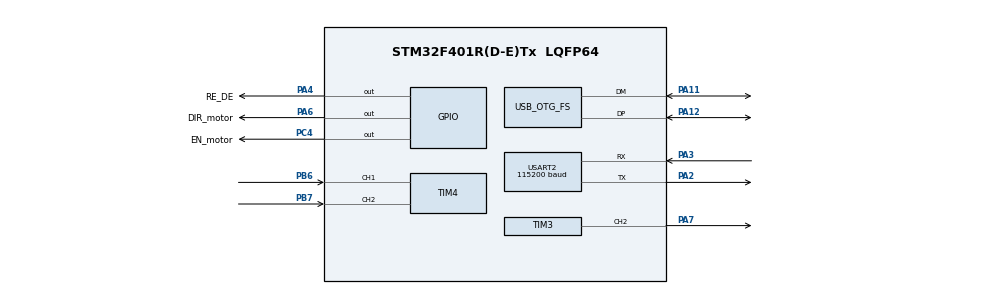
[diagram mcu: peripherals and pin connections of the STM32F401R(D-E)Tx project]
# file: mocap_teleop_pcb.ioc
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Mcu.Family=STM32F4
Mcu.Name=STM32F401R(D-E)Tx
Mcu.Package=LQFP64
NVIC.OTG_FS_IRQn=true\:0\:0\:false\:false\:true\:false\:true\:true
NVIC.PriorityGroup=NVIC_PRIORITYGROUP_4
NVIC.TIM3_IRQn=true\:0\:0\:false\:false\:true\:true\:true\:true
NVIC.TIM4_IRQn=true\:0\:0\:false\:false\:true\:true\:true\:true
NVIC.USART2_IRQn=true\:0\:0\:false\:false\:true\:true\:true\:true
PA11.Mode=Device_Only
PA11.Signal=USB_OTG_FS_DM
PA12.Mode=Device_Only
PA12.Signal=USB_OTG_FS_DP
PA13.Mode=Serial_Wire
PA13.Signal=SYS_JTMS-SWDIO
PA14.Mode=Serial_Wire
PA14.Signal=SYS_JTCK-SWCLK
PA2.Mode=Asynchronous
PA2.Signal=USART2_TX
PA3.Mode=Asynchronous
PA3.Signal=USART2_RX
PA4.GPIO_Label=RE_DE
PA4.GPIO_PuPd=GPIO_PULLDOWN
PA4.GPIO_Speed=GPIO_SPEED_FREQ_VERY_HIGH
PA4.Signal=GPIO_Output
PA6.GPIO_Label=DIR_motor
PA6.GPIO_PuPd=GPIO_PULLDOWN
PA6.GPIO_Speed=GPIO_SPEED_FREQ_VERY_HIGH
PA6.Signal=GPIO_Output
PA7.Signal=S_TIM3_CH2
PB6.Signal=S_TIM4_CH1
PB7.Signal=S_TIM4_CH2
PC4.GPIO_Label=EN_motor
PC4.GPIO_PuPd=GPIO_PULLDOWN
PC4.GPIO_Speed=GPIO_SPEED_FREQ_VERY_HIGH
PC4.Signal=GPIO_Output
PH0\ -\ OSC_IN.Mode=HSE-External-Oscillator
PH0\ -\ OSC_IN.Signal=RCC_OSC_IN
PH1\ -\ OSC_OUT.Mode=HSE-External-Oscillator
PH1\ -\ OSC_OUT.Signal=RCC_OSC_OUT
ProjectManager.HeapSize=0x200
ProjectManager.StackSize=0x400
ProjectManager.TargetToolchain=STM32CubeIDE
RCC.48MHZClocksFreq_Value=48000000
RCC.AHBFreq_Value=84000000
RCC.APB1CLKDivider=RCC_HCLK_DIV2
RCC.APB1Freq_Value=42000000
RCC.APB1TimFreq_Value=84000000
RCC.APB2Freq_Value=84000000
RCC.APB2TimFreq_Value=84000000
RCC.CortexFreq_Value=84000000
RCC.HCLKFreq_Value=84000000
RCC.HSE_VALUE=16000000
RCC.HSI_VALUE=16000000
RCC.LSE_VALUE=32768
RCC.PLLM=8
RCC.PLLN=168
RCC.PLLP=RCC_PLLP_DIV4
RCC.PLLQ=7
RCC.SYSCLKFreq_VALUE=84000000
RCC.SYSCLKSource=RCC_SYSCLKSOURCE_PLLCLK
RCC.VCOOutputFreq_Value=336000000
SH.S_TIM3_CH2.0=TIM3_CH2,PWM Generation2 CH2
SH.S_TIM4_CH1.0=TIM4_CH1,Encoder_Interface
SH.S_TIM4_CH2.0=TIM4_CH2,Encoder_Interface
TIM3.Channel-PWM\ Generation2\ CH2=TIM_CHANNEL_2
TIM3.Period=999
TIM3.Prescaler=3
TIM3.Pulse-PWM\ Generation2\ CH2=499
TIM4.EncoderMode=TIM_ENCODERMODE_TI12
TIM4.IC1Filter=15
TIM4.IC2Filter=15
USART2.BaudRate=115200
USART2.VirtualMode=VM_ASYNC
USB_DEVICE.CLASS_NAME_FS=CDC
USB_DEVICE.MANUFACTURER_STRING-CDC_FS=B&S
USB_DEVICE.PID_CDC_FS=1917
USB_DEVICE.PRODUCT_STRING_CDC_FS=Prometheus
USB_DEVICE.VID-CDC_FS=1789
USB_DEVICE.VirtualMode-CDC_FS=Cdc
USB_DEVICE.VirtualModeFS=Cdc_FS
USB_OTG_FS.VirtualMode=Device_Only
VP_CRC_VS_CRC.Mode=CRC_Activate
VP_USB_DEVICE_VS_USB_DEVICE_CDC_FS.Mode=CDC_FS
board=custom

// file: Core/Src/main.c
/* USER CODE BEGIN Header */
/**
  ******************************************************************************
  * @file           : main.c
  * @brief          : Main program body
  ******************************************************************************
  * @attention
  *
  * Copyright (c) 2025 STMicroelectronics.
  * All rights reserved.
  *
  * This software is licensed under terms that can be found in the LICENSE file
  * in the root directory of this software component.
  * If no LICENSE file comes with this software, it is provided AS-IS.
  *
  ******************************************************************************
  */
/* USER CODE END Header */
#include "main.h"
#include "crc.h"
#include "tim.h"
#include "usart.h"
#include "usb_device.h"
#include "gpio.h"

/* USER CODE BEGIN Includes */
#include "globals.h"
#include <stdint.h>
#include "mocap_teleop_lib.h"
#include "usbd_cdc_if.h"
/* USER CODE END Includes */

void SystemClock_Config(void);

int main(void)
{

  /* MCU Configuration--------------------------------------------------------*/

  /* Reset of all peripherals, Initializes the Flash interface and the Systick. */
  HAL_Init();

  /* Configure the system clock */
  SystemClock_Config();

  /* Initialize all configured peripherals */
  MX_GPIO_Init();
  MX_CRC_Init();
  MX_USART2_UART_Init();
  MX_TIM3_Init();
  MX_TIM4_Init();
  MX_USB_DEVICE_Init();
  /* USER CODE BEGIN 2 */
	// Start Tim 4 to work, for encoder mode
	LL_TIM_CC_EnableChannel(TIM4, LL_TIM_CHANNEL_CH1);
	LL_TIM_CC_EnableChannel(TIM4, LL_TIM_CHANNEL_CH2);
	LL_TIM_EnableCounter(TIM4);

	// Allow Tim 3 to work, it will produce PWM
	LL_TIM_CC_EnableChannel(TIM3, LL_TIM_CHANNEL_CH2);
	LL_TIM_EnableCounter(TIM3);

	// Set En and Dir pins
	LL_GPIO_SetOutputPin(GPIOC, EN_motor_Pin);
	LL_GPIO_ResetOutputPin(GPIOA, DIR_motor_Pin);

	// Set PWM to 0 (equal ZERO current)
	LL_TIM_OC_SetCompareCH2(TIM3,0);

	// Allow USART 2 to work
	NVIC_EnableIRQ(USART2_IRQn);

	//  LL_USART_Enable(USART2);
	USART2->CR1 |= USART_CR1_TE | USART_CR1_RE;
	LL_USART_EnableIT_RXNE(USART2);
	LL_USART_EnableIT_ERROR(USART2);

	LL_GPIO_ResetOutputPin(RE_DE_GPIO_Port, RE_DE_Pin); // Set MAX485 to Rx mode

//	gripper_position = TIM4->CCR1;
	calibration();
//	gripper_position = TIM4->CCR1;
  /* USER CODE END 2 */

  /* Infinite loop */
  /* USER CODE BEGIN WHILE */
  while (1)
  {
	  LL_mDelay(1);
	  switch(USB_Rx_buffer[0])
		  {
			 case 'r':
				 // Function with communication with force sensor pcb
				 if (readForseSensor() == 1)
				 {
					 set_new_force();
					 gripper_position = TIM4->CNT;

					 memcpy(USB_Tx_buffer, (uint8_t*)(&gripper_position), sizeof(gripper_position));
					 memcpy(USB_Tx_buffer + sizeof(gripper_position), (uint8_t*)(&force_sensor_4_value), sizeof(force_sensor_4_value));
					 CDC_Transmit_FS(USB_Tx_buffer, sizeof(gripper_position) + sizeof(force_sensor_4_value));

					 clearBufferAndCounter();
					 memset(USB_Tx_buffer, 0, sizeof(USB_Tx_buffer));  // Clear USB Tx buffer
					 memset(USB_Rx_buffer, 0, sizeof(USB_Rx_buffer)); // Clear USB Rx buffer
				 }
				 else
				 {
					 LL_mDelay(1);
					 if (readForseSensor() == 1)
					 {
						 set_new_force();
						 gripper_position = TIM4->CCR1;

						 memcpy(USB_Tx_buffer, (uint8_t*)(&gripper_position), sizeof(gripper_position));
						 memcpy(USB_Tx_buffer + sizeof(gripper_position), (uint8_t*)(&force_sensor_4_value), sizeof(force_sensor_4_value));
						 CDC_Transmit_FS(USB_Tx_buffer, sizeof(gripper_position) + sizeof(force_sensor_4_value));

						 clearBufferAndCounter();
						 memset(USB_Tx_buffer, 0, sizeof(USB_Tx_buffer));  // Clear USB Tx buffer
						 memset(USB_Rx_buffer, 0, sizeof(USB_Rx_buffer)); // Clear USB Rx buffer
					 }
					 else
					 {
						 gripper_position = TIM4->CCR1;
						 memset(force_sensor_4_value, 0, sizeof(force_sensor_4_value)); // Clear force sensors buffer
						 memcpy(USB_Tx_buffer, (uint8_t*)(&gripper_position), sizeof(gripper_position));
						 memcpy(USB_Tx_buffer + sizeof(gripper_position), (uint8_t*)(&force_sensor_4_value), sizeof(force_sensor_4_value));
						 CDC_Transmit_FS(USB_Tx_buffer, sizeof(gripper_position) + sizeof(force_sensor_4_value));

						 clearBufferAndCounter();
						 memset(USB_Tx_buffer, 0, sizeof(USB_Tx_buffer));  // Clear USB Tx buffer
						 memset(USB_Rx_buffer, 0, sizeof(USB_Rx_buffer)); // Clear USB Rx buffer
					 }
//						 CDC_Transmit_FS(test_usb_buffer, sizeof(test_usb_buffer));
//						 stop_force_control_flag=1;
				 }
				 clearBufferAndCounter();
				 memset(USB_Tx_buffer, 0, sizeof(USB_Tx_buffer));  // Clear USB Tx buffer
				 memset(USB_Rx_buffer, 0, sizeof(USB_Rx_buffer)); // Clear USB Rx buffer

				 break;

			 case 's':
				 stop_motor();
				 memset(USB_Rx_buffer, 0, sizeof(USB_Rx_buffer)); // Clear USB Rx buffer
				 break;

			 default:
				 if (stop_force_control_flag==1)
					 stop_motor();
				 memset(USB_Rx_buffer, 0, sizeof(USB_Rx_buffer)); // Clear USB Rx buffer
				 clearBufferAndCounter();
				 continue;
		  }
    /* USER CODE END WHILE */

  }
}

void SystemClock_Config(void)
{
  LL_FLASH_SetLatency(LL_FLASH_LATENCY_2);
  while(LL_FLASH_GetLatency()!= LL_FLASH_LATENCY_2)
  {
  }
  LL_PWR_SetRegulVoltageScaling(LL_PWR_REGU_VOLTAGE_SCALE2);
  LL_RCC_HSE_Enable();

   /* Wait till HSE is ready */
  while(LL_RCC_HSE_IsReady() != 1)
  {

  }
  LL_RCC_PLL_ConfigDomain_SYS(LL_RCC_PLLSOURCE_HSE, LL_RCC_PLLM_DIV_8, 168, LL_RCC_PLLP_DIV_4);
  LL_RCC_PLL_ConfigDomain_48M(LL_RCC_PLLSOURCE_HSE, LL_RCC_PLLM_DIV_8, 168, LL_RCC_PLLQ_DIV_7);
  LL_RCC_PLL_Enable();

   /* Wait till PLL is ready */
  while(LL_RCC_PLL_IsReady() != 1)
  {

  }
  LL_RCC_SetAHBPrescaler(LL_RCC_SYSCLK_DIV_1);
  LL_RCC_SetAPB1Prescaler(LL_RCC_APB1_DIV_2);
  LL_RCC_SetAPB2Prescaler(LL_RCC_APB2_DIV_1);
  LL_RCC_SetSysClkSource(LL_RCC_SYS_CLKSOURCE_PLL);

   /* Wait till System clock is ready */
  while(LL_RCC_GetSysClkSource() != LL_RCC_SYS_CLKSOURCE_STATUS_PLL)
  {

  }
  LL_SetSystemCoreClock(84000000);

   /* Update the time base */
  if (HAL_InitTick (TICK_INT_PRIORITY) != HAL_OK)
  {
    Error_Handler();
  }
  LL_RCC_SetTIMPrescaler(LL_RCC_TIM_PRESCALER_TWICE);
}

void Error_Handler(void)
{
  __disable_irq();
  while (1)
  {
  }
}
